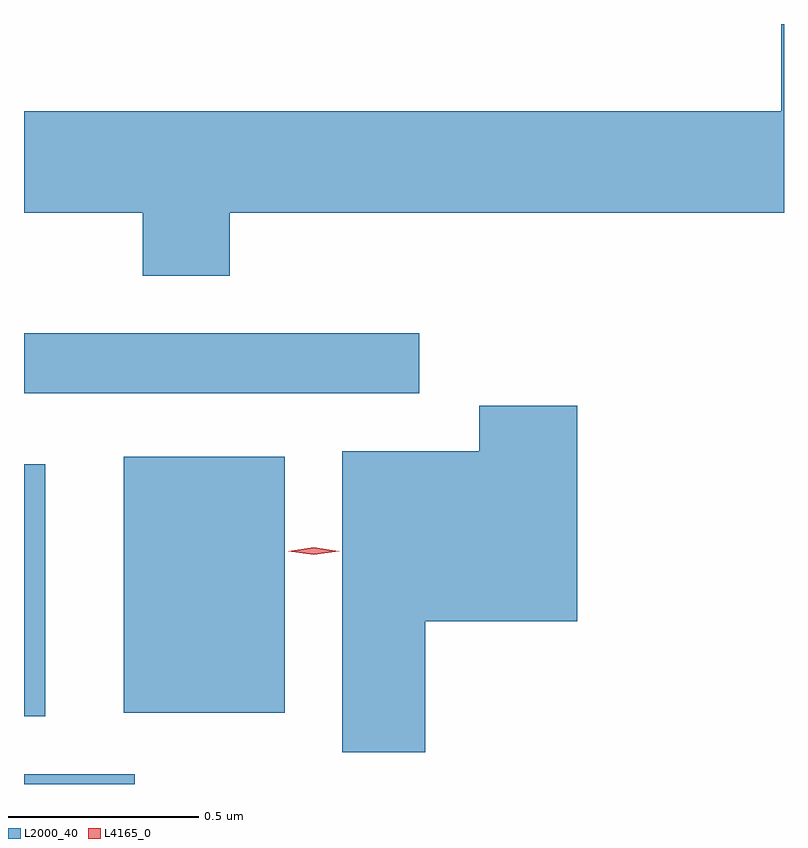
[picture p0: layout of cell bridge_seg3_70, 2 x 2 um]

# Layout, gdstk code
import gdstk
lib = gdstk.Library(unit=1e-6, precision=1e-09)
def R(c, l, rs):  # rectangles x0, y0, x1, y1
    for r in rs: c.add(gdstk.rectangle(r[:2], r[2:], *l))
def P(c, l, *ps):  # polygons
    for p in ps: c.add(gdstk.Polygon(p, *l))
L2000_40 = (2000, 40)
L4165_0 = (4165, 0)

bridge_seg3_70 = lib.new_cell('bridge_seg3_70')
R(bridge_seg3_70, L2000_40, [(1139.068,1244.393,1139.359,1244.419), (1139.068,1244.571,1139.124,1245.234), (1139.331,1244.581,1139.754,1245.254), (1139.068,1245.421,1140.108,1245.579)])
P(bridge_seg3_70, L2000_40, [(1139.609,1245.896),(1141.068,1245.896),(1141.068,1246.393),(1141.061,1246.393),(1141.061,1246.164),(1139.068,1246.164),(1139.068,1245.896),(1139.381,1245.896),(1139.381,1245.731),(1139.609,1245.731)],
  [(1140.124,1244.821),(1140.524,1244.821),(1140.524,1245.389),(1140.266,1245.389),(1140.266,1245.269),(1139.906,1245.269),(1139.906,1244.476),(1140.124,1244.476)])
P(bridge_seg3_70, L4165_0, [(1139.83,1244.996),(1139.764,1245.005),(1139.764,1245.006),(1139.764,1245.006),(1139.83,1245.016),(1139.896,1245.006),(1139.897,1245.006),(1139.896,1245.005)])

lib.write_gds('bridge_seg3_70.gds')
